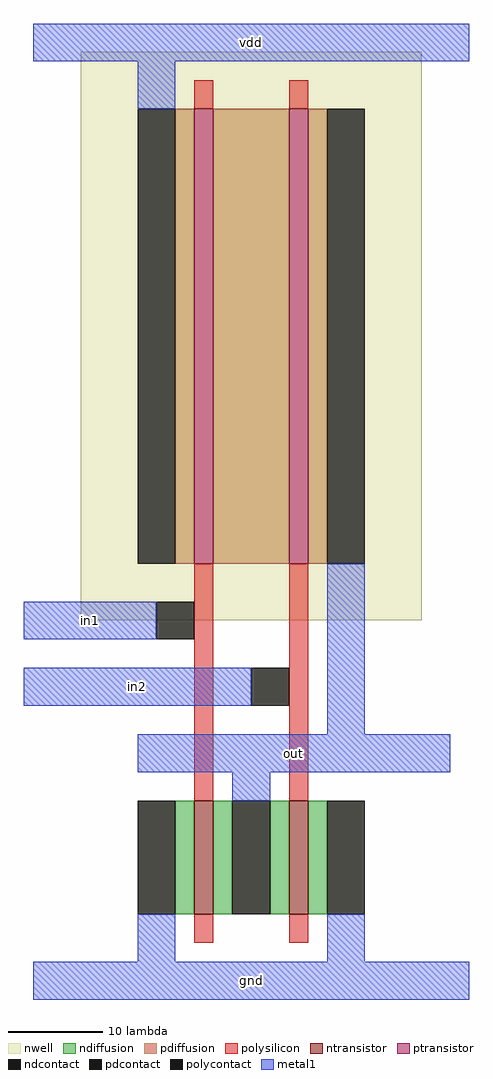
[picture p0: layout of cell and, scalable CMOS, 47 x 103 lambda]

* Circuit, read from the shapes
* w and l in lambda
.subckt and gnd in1 in2 out vdd
M1 out in1 gnd VSUBS nfet w=12 l=2
M2 gnd in2 out VSUBS nfet w=12 l=2
M3 n1 in1 vdd n2 pfet w=48 l=2
M4 out in2 n1 n2 pfet w=48 l=2
.ends

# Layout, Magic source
magic
tech scmos
<< nwell >>
rect -25 -8 11 52
<< ntransistor >>
rect -13 -39 -11 -27
rect -3 -39 -1 -27
<< ptransistor >>
rect -13 -2 -11 46
rect -3 -2 -1 46
<< ndiffusion >>
rect -15 -39 -13 -27
rect -11 -39 -9 -27
rect -5 -39 -3 -27
rect -1 -39 1 -27
<< pdiffusion >>
rect -15 -2 -13 46
rect -11 -2 -3 46
rect -1 -2 1 46
<< ndcontact >>
rect -19 -39 -15 -27
rect -9 -39 -5 -27
rect 1 -39 5 -27
<< pdcontact >>
rect -19 -2 -15 46
rect 1 -2 5 46
<< polysilicon >>
rect -13 46 -11 49
rect -3 46 -1 49
rect -13 -27 -11 -2
rect -3 -27 -1 -2
rect -13 -42 -11 -39
rect -3 -42 -1 -39
<< polycontact >>
rect -17 -10 -13 -6
rect -7 -17 -3 -13
<< metal1 >>
rect -30 51 16 55
rect -19 46 -15 51
rect -31 -10 -17 -6
rect -31 -17 -7 -13
rect 1 -20 5 -2
rect -19 -24 14 -20
rect -9 -27 -5 -24
rect -19 -44 -15 -39
rect 1 -44 5 -39
rect -30 -48 16 -44
<< labels >>
rlabel metal1 -31 -10 -17 -6 1 in1
rlabel metal1 -31 -17 -7 -13 1 in2
rlabel metal1 -19 -24 14 -20 1 out
rlabel metal1 -30 51 16 55 5 vdd
rlabel metal1 -30 -48 16 -44 1 gnd
<< end >>
